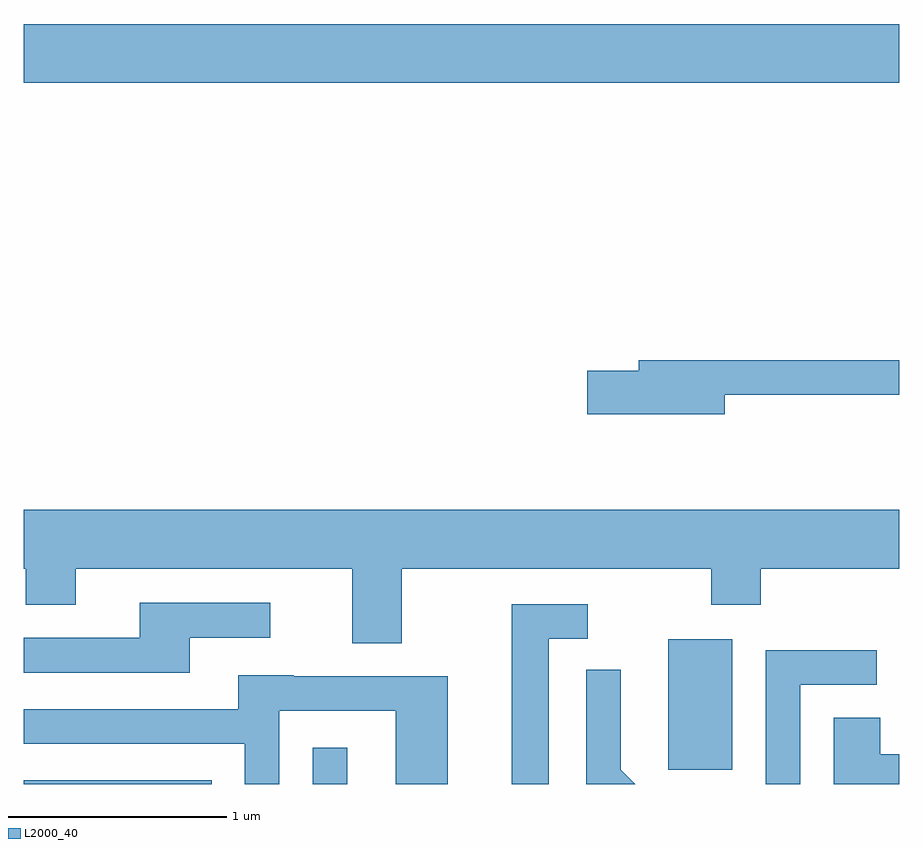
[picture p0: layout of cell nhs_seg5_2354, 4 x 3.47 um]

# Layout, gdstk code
import gdstk
lib = gdstk.Library(unit=1e-6, precision=1e-09)
def R(c, l, rs):  # rectangles x0, y0, x1, y1
    for r in rs: c.add(gdstk.rectangle(r[:2], r[2:], *l))
def P(c, l, *ps):  # polygons
    for p in ps: c.add(gdstk.Polygon(p, *l))
L2000_40 = (2000, 40)

nhs_seg5_2354 = lib.new_cell('nhs_seg5_2354')
R(nhs_seg5_2354, L2000_40, [(255.611,1418.072,256.469,1418.089), (256.931,1418.072,257.089,1418.238), (258.556,1418.136,258.849,1418.734), (255.611,1421.276,259.611,1421.544)])
P(nhs_seg5_2354, L2000_40, [(258.814,1419.851),(259.611,1419.851),(259.611,1420.009),(258.421,1420.009),(258.421,1419.959),(258.186,1419.959),(258.186,1419.761),(258.814,1419.761)],
  [(257.339,1419.056),(258.751,1419.056),(258.751,1418.891),(258.979,1418.891),(258.979,1419.056),(259.611,1419.056),(259.611,1419.324),(255.611,1419.324),(255.611,1419.056),(255.621,1419.056),(255.621,1418.891),(255.849,1418.891),(255.849,1419.056),(257.111,1419.056),(257.111,1418.716),(257.339,1418.716)],
  [(256.369,1418.741),(256.738,1418.741),(256.738,1418.899),(256.141,1418.899),(256.141,1418.739),(255.611,1418.739),(255.611,1418.581),(256.369,1418.581)],
  [(258.009,1418.736),(258.188,1418.736),(258.188,1418.894),(257.841,1418.894),(257.841,1418.072),(258.009,1418.072)],
  [(259.159,1418.526),(259.508,1418.526),(259.508,1418.684),(259.001,1418.684),(259.001,1418.072),(259.159,1418.072)],
  [(258.339,1418.137),(258.339,1418.593),(258.181,1418.593),(258.181,1418.072),(258.404,1418.072)],
  [(256.779,1418.406),(257.311,1418.406),(257.311,1418.072),(257.549,1418.072),(257.549,1418.564),(256.845,1418.564),(256.845,1418.569),(256.591,1418.569),(256.591,1418.414),(255.611,1418.414),(255.611,1418.256),(256.621,1418.256),(256.621,1418.072),(256.779,1418.072)],
  [(259.611,1418.209),(259.524,1418.209),(259.524,1418.374),(259.311,1418.374),(259.311,1418.072),(259.611,1418.072)])

lib.write_gds('nhs_seg5_2354.gds')
